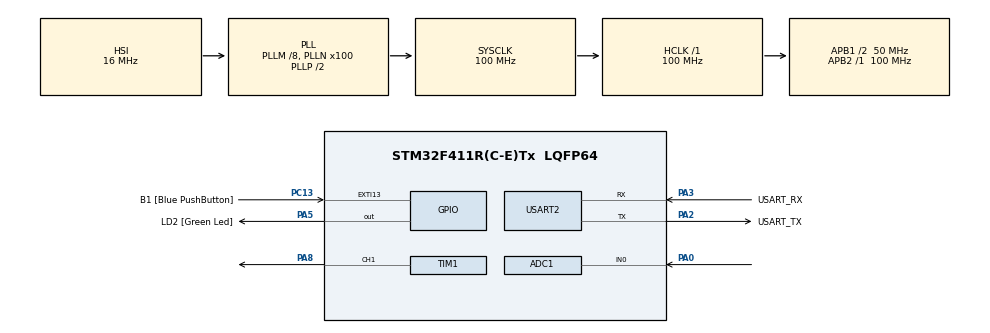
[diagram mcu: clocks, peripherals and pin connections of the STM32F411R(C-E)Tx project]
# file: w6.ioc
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Mcu.Family=STM32F4
RCC.CortexFreq_Value=100000000
PA14.GPIO_Label=TCK
TIM1.Pulse-PWM\ Generation1\ CH1=0
RCC.SYSCLKSource=RCC_SYSCLKSOURCE_PLLCLK
ProjectManager.StackSize=0x400
NVIC.ADC_IRQn=true\:0\:0\:false\:false\:true\:true\:true
PH0\ -\ OSC_IN.Signal=RCC_OSC_IN
RCC.HCLKFreq_Value=100000000
RCC.APB2TimFreq_Value=100000000
TIM3.Period=1000
RCC.AHBFreq_Value=100000000
ADC1.Channel-0\#ChannelRegularConversion=ADC_CHANNEL_0
NVIC.TIM1_TRG_COM_TIM11_IRQn=true\:0\:0\:false\:false\:true\:true\:true
RCC.HSE_VALUE=8000000
PC13-ANTI_TAMP.Signal=GPXTI13
PC14-OSC32_IN.Mode=LSE-External-Oscillator
TIM1.Channel-PWM\ Generation1\ CH1=TIM_CHANNEL_1
PA14.Mode=Serial_Wire
TIM3.Prescaler=99
PA8.Signal=S_TIM1_CH1
SH.ADCx_IN0.0=ADC1_IN0,IN0
VP_TIM1_VS_ClockSourceINT.Mode=Internal
ADC1.SamplingTime-0\#ChannelRegularConversion=ADC_SAMPLETIME_3CYCLES
RCC.FLatency-AdvancedSettings=FLASH_LATENCY_3
Mcu.Package=LQFP64
USART2.VirtualMode=VM_ASYNC
PA2.GPIO_Label=USART_TX
RCC.APB1TimFreq_Value=100000000
TIM1.Period=10000
VP_TIM3_VS_ClockSourceINT.Mode=Internal
PA3.Signal=USART2_RX
PB3.GPIO_Label=SWO
PC15-OSC32_OUT.Mode=LSE-External-Oscillator
ADC1.Rank-0\#ChannelRegularConversion=1
PC13-ANTI_TAMP.GPIO_Label=B1 [Blue PushButton]
PH1\ -\ OSC_OUT.Mode=HSE-External-Clock-Source
TIM11.Prescaler=99
RCC.APB1CLKDivider=RCC_HCLK_DIV2
PC14-OSC32_IN.Signal=RCC_OSC32_IN
PA0-WKUP.Signal=ADCx_IN0
VP_TIM11_VS_ClockSourceINT.Mode=Enable_Timer
PA13.Signal=SYS_JTMS-SWDIO
PA3.Mode=Asynchronous
PH0\ -\ OSC_IN.Mode=HSE-External-Clock-Source
SH.S_TIM1_CH1.0=TIM1_CH1,PWM Generation1 CH1
ProjectManager.TargetToolchain=STM32CubeIDE
PC15-OSC32_OUT.Signal=RCC_OSC32_OUT
PA5.Signal=GPIO_Output
PH1\ -\ OSC_OUT.Signal=RCC_OSC_OUT
board=NUCLEO-F411RE
RCC.VCOOutputFreq_Value=200000000
RCC.APB2Freq_Value=100000000
ADC1.NbrOfConversion=1
PA13.Mode=Serial_Wire
Mcu.Name=STM32F411R(C-E)Tx
PA13.GPIO_Label=TMS
PA2.Signal=USART2_TX
ADC1.ExternalTrigConv=ADC_EXTERNALTRIGCONV_T3_TRGO
RCC.48MHZClocksFreq_Value=50000000
PB3.Signal=SYS_JTDO-SWO
RCC.SYSCLKFreq_VALUE=100000000
ADC1.master=1
PA5.GPIO_Label=LD2 [Green Led]
PC13-ANTI_TAMP.GPIO_ModeDefaultEXTI=GPIO_MODE_IT_FALLING
PA14.Signal=SYS_JTCK-SWCLK
ProjectManager.HeapSize=0x200
RCC.HSI_VALUE=16000000
NVIC.PriorityGroup=NVIC_PRIORITYGROUP_0
ADC1.NbrOfConversionFlag=1
RCC.PLLM=8
RCC.PLLN=100
PA2.Mode=Asynchronous
TIM3.TIM_MasterOutputTrigger=TIM_TRGO_UPDATE
RCC.APB1Freq_Value=50000000
PA3.GPIO_Label=USART_RX

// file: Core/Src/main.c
/* USER CODE BEGIN Header */
/**
 ******************************************************************************
 * @file           : main.c
 * @brief          : Main program body
 ******************************************************************************
 * @attention
 *
 * <h2><center>&copy; Copyright (c) 2021 STMicroelectronics.
 * All rights reserved.</center></h2>
 *
 * This software component is licensed by ST under BSD 3-Clause license,
 * the "License"; You may not use this file except in compliance with the
 * License. You may obtain a copy of the License at:
 *                        opensource.org/licenses/BSD-3-Clause
 *
 ******************************************************************************
 */
/* USER CODE END Header */
#include "main.h"

ADC_HandleTypeDef hadc1;

TIM_HandleTypeDef htim1;
TIM_HandleTypeDef htim3;
TIM_HandleTypeDef htim11;

UART_HandleTypeDef huart2;

/* USER CODE BEGIN PV */
uint8_t ADCUpdateFlag = 0;
uint16_t ADCFeedBack = 0;

uint16_t PWMOut = 3000;

uint64_t _micro = 0;
uint64_t TimeOutputLoop = 0;

float Sum_PWMError = 0;
float p_PWMError = 0;
float PWMError = 0;
float PWMOut_1V = 0;
float K_P =0.4, K_I = 0.001, K_D = 0.002;

/* USER CODE END PV */

void SystemClock_Config(void);
static void MX_GPIO_Init(void);
static void MX_USART2_UART_Init(void);
static void MX_ADC1_Init(void);
static void MX_TIM1_Init(void);
static void MX_TIM3_Init(void);
static void MX_TIM11_Init(void);
/* USER CODE BEGIN PFP */
uint64_t micros();
/* USER CODE END PFP */

int main(void) {

	/* MCU Configuration--------------------------------------------------------*/

	/* Reset of all peripherals, Initializes the Flash interface and the Systick. */
	HAL_Init();

	/* Configure the system clock */
	SystemClock_Config();

	/* Initialize all configured peripherals */
	MX_GPIO_Init();
	MX_USART2_UART_Init();
	MX_ADC1_Init();
	MX_TIM1_Init();
	MX_TIM3_Init();
	MX_TIM11_Init();
	/* USER CODE BEGIN 2 */
	//ADC Start
	HAL_ADC_Start_IT(&hadc1); //start ADC interrupt
	HAL_TIM_Base_Start(&htim3); //start Tim3

	//PWM Start
	HAL_TIM_Base_Start(&htim1);
	HAL_TIM_PWM_Start(&htim1, TIM_CHANNEL_1);

	//micos
	HAL_TIM_Base_Start_IT(&htim11);
	/* USER CODE END 2 */

	/* Infinite loop */
	while (1) {

		/* USER CODE BEGIN 3 */

		//1 Khz Loop
		if (micros() - TimeOutputLoop > 1000) //us
				{
			TimeOutputLoop = micros();
			// #001

			__HAL_TIM_SET_COMPARE(&htim1, TIM_CHANNEL_1, PWMOut); //__�?�?า�?ห�?�?ามั�?�?ะทำ�?า�?เร�?ว

		}

		if (ADCUpdateFlag) {

			if (PWMOut > 10000) {
				PWMOut = 10000;
			}

			PWMError = ((PWMOut * 1241) / ADCFeedBack) - PWMOut;
			Sum_PWMError += PWMError;
			PWMOut_1V = K_P * PWMError + K_I * Sum_PWMError
					+ K_D * (PWMError - p_PWMError);
			PWMOut = PWMOut+PWMOut_1V;
			p_PWMError = PWMError;

			ADCUpdateFlag = 0;
			//#002
		}
	}
	/* USER CODE END 3 */
}

void SystemClock_Config(void) {
	RCC_OscInitTypeDef RCC_OscInitStruct = { 0 };
	RCC_ClkInitTypeDef RCC_ClkInitStruct = { 0 };

	/** Configure the main internal regulator output voltage
	 */
	__HAL_RCC_PWR_CLK_ENABLE();
	__HAL_PWR_VOLTAGESCALING_CONFIG(PWR_REGULATOR_VOLTAGE_SCALE1);
	/** Initializes the RCC Oscillators according to the specified parameters
	 * in the RCC_OscInitTypeDef structure.
	 */
	RCC_OscInitStruct.OscillatorType = RCC_OSCILLATORTYPE_HSI;
	RCC_OscInitStruct.HSIState = RCC_HSI_ON;
	RCC_OscInitStruct.HSICalibrationValue = RCC_HSICALIBRATION_DEFAULT;
	RCC_OscInitStruct.PLL.PLLState = RCC_PLL_ON;
	RCC_OscInitStruct.PLL.PLLSource = RCC_PLLSOURCE_HSI;
	RCC_OscInitStruct.PLL.PLLM = 8;
	RCC_OscInitStruct.PLL.PLLN = 100;
	RCC_OscInitStruct.PLL.PLLP = RCC_PLLP_DIV2;
	RCC_OscInitStruct.PLL.PLLQ = 4;
	if (HAL_RCC_OscConfig(&RCC_OscInitStruct) != HAL_OK) {
		Error_Handler();
	}
	/** Initializes the CPU, AHB and APB buses clocks
	 */
	RCC_ClkInitStruct.ClockType = RCC_CLOCKTYPE_HCLK | RCC_CLOCKTYPE_SYSCLK
			| RCC_CLOCKTYPE_PCLK1 | RCC_CLOCKTYPE_PCLK2;
	RCC_ClkInitStruct.SYSCLKSource = RCC_SYSCLKSOURCE_PLLCLK;
	RCC_ClkInitStruct.AHBCLKDivider = RCC_SYSCLK_DIV1;
	RCC_ClkInitStruct.APB1CLKDivider = RCC_HCLK_DIV2;
	RCC_ClkInitStruct.APB2CLKDivider = RCC_HCLK_DIV1;

	if (HAL_RCC_ClockConfig(&RCC_ClkInitStruct, FLASH_LATENCY_3) != HAL_OK) {
		Error_Handler();
	}
}

static void MX_ADC1_Init(void) {

	ADC_ChannelConfTypeDef sConfig = { 0 };

	/** Configure the global features of the ADC (Clock, Resolution, Data Alignment and number of conversion)
	 */
	hadc1.Instance = ADC1;
	hadc1.Init.ClockPrescaler = ADC_CLOCK_SYNC_PCLK_DIV4;
	hadc1.Init.Resolution = ADC_RESOLUTION_12B;
	hadc1.Init.ScanConvMode = DISABLE;
	hadc1.Init.ContinuousConvMode = DISABLE;
	hadc1.Init.DiscontinuousConvMode = DISABLE;
	hadc1.Init.ExternalTrigConvEdge = ADC_EXTERNALTRIGCONVEDGE_RISING;
	hadc1.Init.ExternalTrigConv = ADC_EXTERNALTRIGCONV_T3_TRGO;
	hadc1.Init.DataAlign = ADC_DATAALIGN_RIGHT;
	hadc1.Init.NbrOfConversion = 1;
	hadc1.Init.DMAContinuousRequests = DISABLE;
	hadc1.Init.EOCSelection = ADC_EOC_SINGLE_CONV;
	if (HAL_ADC_Init(&hadc1) != HAL_OK) {
		Error_Handler();
	}
	/** Configure for the selected ADC regular channel its corresponding rank in the sequencer and its sample time.
	 */
	sConfig.Channel = ADC_CHANNEL_0;
	sConfig.Rank = 1;
	sConfig.SamplingTime = ADC_SAMPLETIME_3CYCLES;
	if (HAL_ADC_ConfigChannel(&hadc1, &sConfig) != HAL_OK) {
		Error_Handler();
	}

}

static void MX_TIM1_Init(void) {

	TIM_ClockConfigTypeDef sClockSourceConfig = { 0 };
	TIM_MasterConfigTypeDef sMasterConfig = { 0 };
	TIM_OC_InitTypeDef sConfigOC = { 0 };
	TIM_BreakDeadTimeConfigTypeDef sBreakDeadTimeConfig = { 0 };

	htim1.Instance = TIM1;
	htim1.Init.Prescaler = 0;
	htim1.Init.CounterMode = TIM_COUNTERMODE_UP;
	htim1.Init.Period = 10000;
	htim1.Init.ClockDivision = TIM_CLOCKDIVISION_DIV1;
	htim1.Init.RepetitionCounter = 0;
	htim1.Init.AutoReloadPreload = TIM_AUTORELOAD_PRELOAD_DISABLE;
	if (HAL_TIM_Base_Init(&htim1) != HAL_OK) {
		Error_Handler();
	}
	sClockSourceConfig.ClockSource = TIM_CLOCKSOURCE_INTERNAL;
	if (HAL_TIM_ConfigClockSource(&htim1, &sClockSourceConfig) != HAL_OK) {
		Error_Handler();
	}
	if (HAL_TIM_PWM_Init(&htim1) != HAL_OK) {
		Error_Handler();
	}
	sMasterConfig.MasterOutputTrigger = TIM_TRGO_RESET;
	sMasterConfig.MasterSlaveMode = TIM_MASTERSLAVEMODE_DISABLE;
	if (HAL_TIMEx_MasterConfigSynchronization(&htim1, &sMasterConfig)
			!= HAL_OK) {
		Error_Handler();
	}
	sConfigOC.OCMode = TIM_OCMODE_PWM1;
	sConfigOC.Pulse = 0;
	sConfigOC.OCPolarity = TIM_OCPOLARITY_HIGH;
	sConfigOC.OCNPolarity = TIM_OCNPOLARITY_HIGH;
	sConfigOC.OCFastMode = TIM_OCFAST_DISABLE;
	sConfigOC.OCIdleState = TIM_OCIDLESTATE_RESET;
	sConfigOC.OCNIdleState = TIM_OCNIDLESTATE_RESET;
	if (HAL_TIM_PWM_ConfigChannel(&htim1, &sConfigOC, TIM_CHANNEL_1)
			!= HAL_OK) {
		Error_Handler();
	}
	sBreakDeadTimeConfig.OffStateRunMode = TIM_OSSR_DISABLE;
	sBreakDeadTimeConfig.OffStateIDLEMode = TIM_OSSI_DISABLE;
	sBreakDeadTimeConfig.LockLevel = TIM_LOCKLEVEL_OFF;
	sBreakDeadTimeConfig.DeadTime = 0;
	sBreakDeadTimeConfig.BreakState = TIM_BREAK_DISABLE;
	sBreakDeadTimeConfig.BreakPolarity = TIM_BREAKPOLARITY_HIGH;
	sBreakDeadTimeConfig.AutomaticOutput = TIM_AUTOMATICOUTPUT_DISABLE;
	if (HAL_TIMEx_ConfigBreakDeadTime(&htim1, &sBreakDeadTimeConfig)
			!= HAL_OK) {
		Error_Handler();
	}
	HAL_TIM_MspPostInit(&htim1);

}

static void MX_TIM3_Init(void) {

	TIM_ClockConfigTypeDef sClockSourceConfig = { 0 };
	TIM_MasterConfigTypeDef sMasterConfig = { 0 };

	htim3.Instance = TIM3;
	htim3.Init.Prescaler = 99;
	htim3.Init.CounterMode = TIM_COUNTERMODE_UP;
	htim3.Init.Period = 1000;
	htim3.Init.ClockDivision = TIM_CLOCKDIVISION_DIV1;
	htim3.Init.AutoReloadPreload = TIM_AUTORELOAD_PRELOAD_DISABLE;
	if (HAL_TIM_Base_Init(&htim3) != HAL_OK) {
		Error_Handler();
	}
	sClockSourceConfig.ClockSource = TIM_CLOCKSOURCE_INTERNAL;
	if (HAL_TIM_ConfigClockSource(&htim3, &sClockSourceConfig) != HAL_OK) {
		Error_Handler();
	}
	sMasterConfig.MasterOutputTrigger = TIM_TRGO_UPDATE;
	sMasterConfig.MasterSlaveMode = TIM_MASTERSLAVEMODE_DISABLE;
	if (HAL_TIMEx_MasterConfigSynchronization(&htim3, &sMasterConfig)
			!= HAL_OK) {
		Error_Handler();
	}

}

static void MX_TIM11_Init(void) {

	htim11.Instance = TIM11;
	htim11.Init.Prescaler = 99;
	htim11.Init.CounterMode = TIM_COUNTERMODE_UP;
	htim11.Init.Period = 65535;
	htim11.Init.ClockDivision = TIM_CLOCKDIVISION_DIV1;
	htim11.Init.AutoReloadPreload = TIM_AUTORELOAD_PRELOAD_DISABLE;
	if (HAL_TIM_Base_Init(&htim11) != HAL_OK) {
		Error_Handler();
	}

}

static void MX_USART2_UART_Init(void) {

	huart2.Instance = USART2;
	huart2.Init.BaudRate = 115200;
	huart2.Init.WordLength = UART_WORDLENGTH_8B;
	huart2.Init.StopBits = UART_STOPBITS_1;
	huart2.Init.Parity = UART_PARITY_NONE;
	huart2.Init.Mode = UART_MODE_TX_RX;
	huart2.Init.HwFlowCtl = UART_HWCONTROL_NONE;
	huart2.Init.OverSampling = UART_OVERSAMPLING_16;
	if (HAL_UART_Init(&huart2) != HAL_OK) {
		Error_Handler();
	}

}

static void MX_GPIO_Init(void) {
	GPIO_InitTypeDef GPIO_InitStruct = { 0 };

	/* GPIO Ports Clock Enable */
	__HAL_RCC_GPIOC_CLK_ENABLE();
	__HAL_RCC_GPIOH_CLK_ENABLE();
	__HAL_RCC_GPIOA_CLK_ENABLE();
	__HAL_RCC_GPIOB_CLK_ENABLE();

	/*Configure GPIO pin Output Level */
	HAL_GPIO_WritePin(LD2_GPIO_Port, LD2_Pin, GPIO_PIN_RESET);

	/*Configure GPIO pin : B1_Pin */
	GPIO_InitStruct.Pin = B1_Pin;
	GPIO_InitStruct.Mode = GPIO_MODE_IT_FALLING;
	GPIO_InitStruct.Pull = GPIO_NOPULL;
	HAL_GPIO_Init(B1_GPIO_Port, &GPIO_InitStruct);

	/*Configure GPIO pin : LD2_Pin */
	GPIO_InitStruct.Pin = LD2_Pin;
	GPIO_InitStruct.Mode = GPIO_MODE_OUTPUT_PP;
	GPIO_InitStruct.Pull = GPIO_NOPULL;
	GPIO_InitStruct.Speed = GPIO_SPEED_FREQ_LOW;
	HAL_GPIO_Init(LD2_GPIO_Port, &GPIO_InitStruct);

}

/* USER CODE BEGIN 4 */
//callback ADC
void HAL_ADC_ConvCpltCallback(ADC_HandleTypeDef *hadc) {
	ADCFeedBack = HAL_ADC_GetValue(&hadc1);
	ADCUpdateFlag = 1;
}
void HAL_TIM_PeriodElapsedCallback(TIM_HandleTypeDef *htim) {
	if (htim == &htim11) {
		_micro += 65535;
	}
}

__inline__ uint64_t micros() {
	return _micro + htim11.Instance->CNT;
}
/* USER CODE END 4 */

void Error_Handler(void) {
	__disable_irq();
	while (1) {
	}
}

/************************ (C) COPYRIGHT STMicroelectronics *****END OF FILE****/
